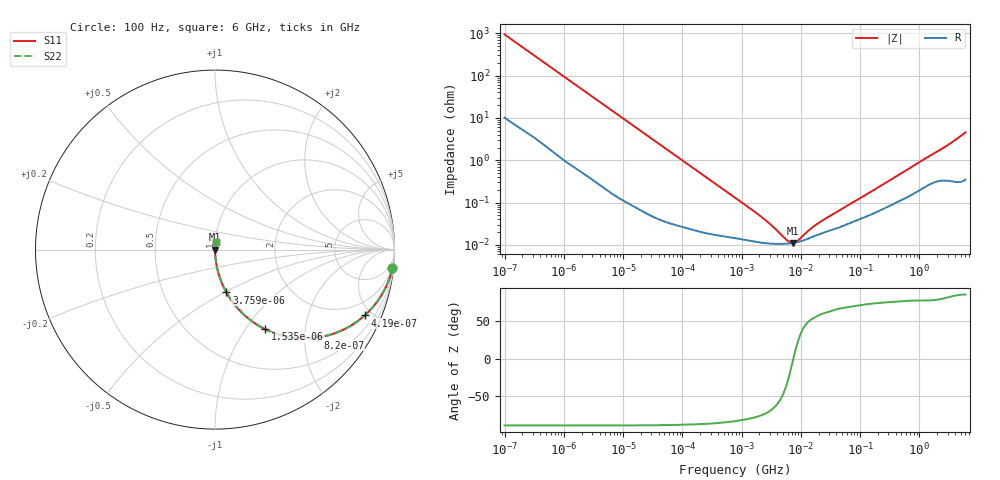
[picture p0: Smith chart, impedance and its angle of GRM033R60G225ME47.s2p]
!Murata Part Number: GRM033R60G225ME47
!These Parameters are Measured in Series Mode Connection
!Data Generated on Mar 30, 2021
!  o--ll--o
!Port1  Port2
!  o------o
!Operation Temp=25[degC], DC Bias Voltage=0[V]
!Freq. Start=100[Hz] Stop=6[GHz] 401[Steps]
# Hz S RI R 50
!Freq.(Hz) S11(Real) S11(Imag) S21(Real) S21(Imag) S12(Real) S12(Imag) S22(Real) S22(Imag)
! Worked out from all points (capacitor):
!   401 points, 100 Hz to 6 GHz, reference 50 ohm
!   read as one part in series: C = 1.69 uF near 109 Hz
!   lowest |Z| = 11.1 mohm at 7.267 MHz (marker M1)
!   series resonance near 7.488 MHz, so ESL is about 270 pH
!   S11 on the Smith chart (normalised r, x): 100 Hz: 1, -19; 419 Hz: 1.05, -4.52; 820 Hz: 1.02, -2.32; 1.535 kHz: 1.01, -1.24; 3.759 kHz: 1.01, -0.51; 6 GHz: 1.01, +0.09
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100  0.9876 -0.1053  0.0124 0.1053  0.0124 0.1053  0.9876 -0.1053
224  0.9443 -0.2238  0.0557 0.2238  0.0557 0.2238  0.9443 -0.2238
419  0.8334 -0.367  0.1666 0.367  0.1666 0.367  0.8334 -0.367
600  0.7128 -0.447  0.2872 0.447  0.2872 0.447  0.7128 -0.447
820  0.5728 -0.4894  0.4272 0.4894  0.4272 0.4894  0.5728 -0.4894
1122  0.4199 -0.4883  0.5801 0.4883  0.5801 0.4883  0.4199 -0.4883
1535  0.2811 -0.4442  0.7189 0.4442  0.7189 0.4442  0.2811 -0.4442
2008  0.1876 -0.385  0.8124 0.385  0.8124 0.385  0.1876 -0.385
3759  0.0636 -0.2387  0.9364 0.2387  0.9364 0.2387  0.0636 -0.2387
6151  0.0255 -0.1524  0.9745 0.1524  0.9745 0.1524  0.0255 -0.1524
10527  0.00941 -0.0909  0.9906 0.0909  0.9906 0.0909  0.00941 -0.0909
40335  0.000983 -0.0241  0.999 0.0241  0.999 0.0241  0.000983 -0.0241
774597  0.000146 -0.00129  0.9999 0.00129  0.9999 0.00129  0.000146 -0.00129
2481164  0.00011 -0.000377  0.9999 0.000377  0.9999 0.000377  0.00011 -0.000377
5809218  0.000107 -7.23e-05  0.9999 7.23e-05  0.9999 7.23e-05  0.000107 -7.23e-05
7266822  0.000111 -8.3e-06  0.9999 8.3e-06  0.9999 8.3e-06  0.000111 -8.3e-06
9090158  0.000118 5.44e-05  0.9999 -5.44e-05  0.9999 -5.44e-05  0.000118 5.44e-05
1.555665e7  0.000154 0.000206  0.9998 -0.000206  0.9998 -0.000206  0.000154 0.000206
2.662322e7  0.000204 0.000374  0.9998 -0.000374  0.9998 -0.000374  0.000204 0.000374
3.124326e8  0.000841 0.0032  0.9992 -0.0032  0.9992 -0.0032  0.000841 0.0032
2.679998e9  0.00371 0.0201  0.9963 -0.0201  0.9963 -0.0201  0.00371 0.0201
6e9  0.00552 0.0449  0.9945 -0.0449  0.9945 -0.0449  0.00552 0.0449
